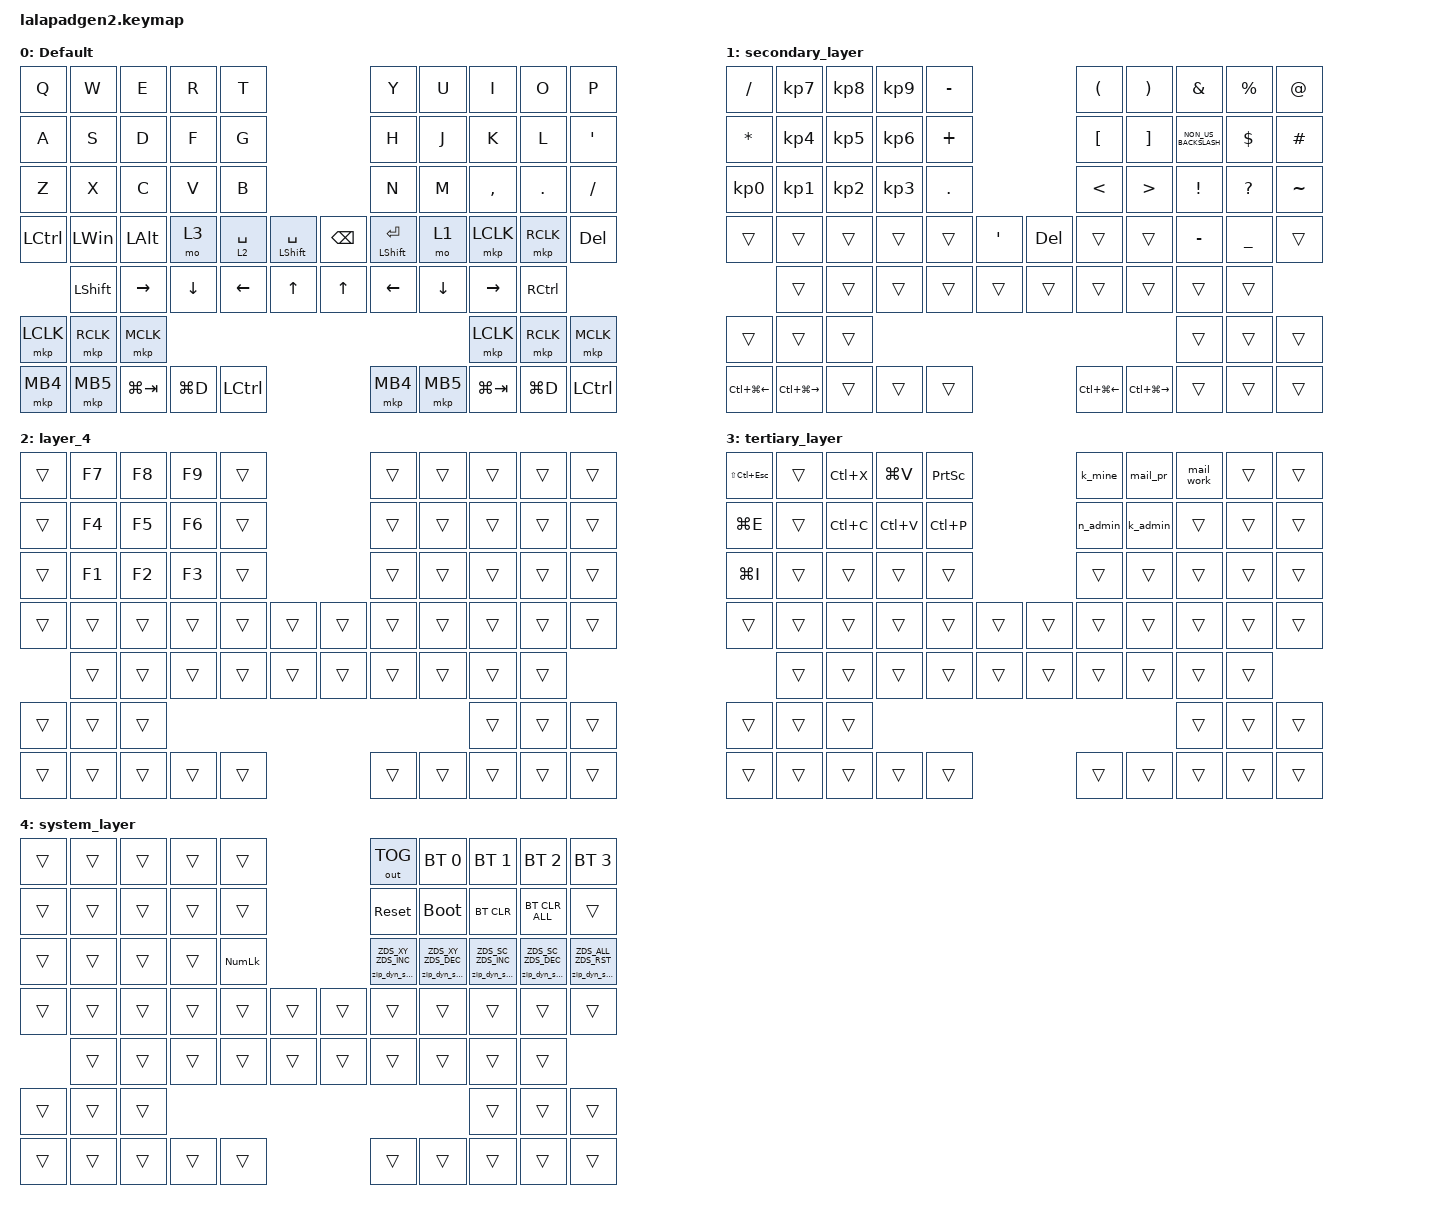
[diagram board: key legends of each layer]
#include <input/processors.dtsi>
#include <dt-bindings/zmk/zip_dynamic_scale.h>
#include <behaviors.dtsi>
#include <dt-bindings/zmk/bt.h>
#include <dt-bindings/zmk/keys.h>
#include <dt-bindings/zmk/outputs.h>
#include <dt-bindings/zmk/pointing.h>

#define DEFAULT_LAYER   0
#define SECONDARY_LAYER 1
#define TERTIARY_LAYER  2
#define SYSTEM_LAYER    3

&mt { quick-tap-ms = <200>; };

&lt { quick-tap-ms = <200>; };

/ {
    behaviors {
        zip_dyn_scale: zip_dyn_scale {
            compatible = "zmk,behavior-zip-dynamic-scale";
            #binding-cells = <2>;
        };

        zip_dyn_scale_set: zip_dyn_scale_set {
            compatible = "zmk,behavior-zip-dynamic-scale-set";
            #binding-cells = <2>;
        };

        mt2: mod_tap2 {
            compatible = "zmk,behavior-hold-tap";
            #binding-cells = <2>;
            flavor = "tap-preferred";
            tapping-term-ms = <200>;
            quick-tap-ms = <200>;
            require-prior-idle-ms = <125>;
            bindings = <&kp>, <&kp>;
        };

        tap_dance_layer_1and2: tap_dance_layer_1and2 {
            compatible = "zmk,behavior-tap-dance";
            label = "td_mo12";
            #binding-cells = <0>;
            bindings = <&mo 1>, <&mo 4>;
        };
    };

    combos {
        compatible = "zmk,combos";

        CONBO_ESC {
            bindings = <&kp ESCAPE>;
            key-positions = <0 10>;
        };

        COMBO_TAB {
            bindings = <&kp TAB>;
            key-positions = <0 1>;
        };

        ch-lang {
            bindings = <&kp LS(CAPSLOCK)>;
            key-positions = <35 36>;
        };

        mb3 {
            bindings = <&mkp MB3>;
            key-positions = <39 40>;
        };

        semiC {
            bindings = <&kp SEMICOLON>;
            key-positions = <5 15>;
        };

        eq {
            bindings = <&kp EQUAL>;
            key-positions = <8 9>;
        };

        lay4 {
            bindings = <&mo 4>;
            key-positions = <34 33>;
        };
    };

    macros {
        k_mine: k_mine {
            compatible = "zmk,behavior-macro";
            #binding-cells = <0>;
            bindings = <&kp LS(T) &kp N1 &kp N0 &kp H &kp N7 &kp I &kp N3 &kp N2>;
            label = "K_MINE";
        };

        mail_pr: mail_pr {
            compatible = "zmk,behavior-macro";
            #binding-cells = <0>;
            bindings = <&kp N &kp O &kp V &kp A &kp N8 &kp DOT &kp L &kp O &kp V &kp E &kp DOT &kp B &kp B &kp AT &kp G &kp M &kp A &kp I &kp L &kp DOT &kp C &kp O &kp M>;
            label = "MAIL_PR";
        };

        mail_work: mail_work {
            compatible = "zmk,behavior-macro";
            #binding-cells = <0>;
            bindings = <&kp N &kp O &kp B &kp A &kp T &kp A &kp MINUS &kp S &kp AT &kp A &kp Z &kp U &kp S &kp A &kp S &kp E &kp K &kp K &kp E &kp I &kp DOT &kp C &kp O &kp DOT &kp J &kp P>;
            label = "MAIL_WORK";
        };

        n_admin: n_admin {
            compatible = "zmk,behavior-macro";
            #binding-cells = <0>;
            bindings = <&kp DOT &kp BSLH &kp L &kp O &kp C &kp A &kp L &kp A &kp D &kp M &kp I &kp N>;
            label = "N_ADMIN";
        };

        k_admin: k_admin {
            compatible = "zmk,behavior-macro";
            #binding-cells = <0>;
            bindings = <&kp LS(N) &kp LS(G) &kp LS(J) &kp LS(T) &kp LS(Z) &kp LS(I) &kp LS(Z) &kp LS(Q)>;
            label = "K_ADMIN";
        };
    };

    keymap {
        compatible = "zmk,keymap";

        DEFAULT_LAYER {
            display-name = "Default";
            bindings = <
&kp Q      &kp W           &kp E         &kp R      &kp T                                             &kp Y                 &kp U     &kp I        &kp O       &kp P
&kp A      &kp S           &kp D         &kp F      &kp G                                             &kp H                 &kp J     &kp K        &kp L       &kp SQT
&kp Z      &kp X           &kp C         &kp V      &kp B                                             &kp N                 &kp M     &kp COMMA    &kp PERIOD  &kp SLASH
&kp LCTRL  &kp LWIN        &kp LEFT_ALT  &mo 3      &lt 2 SPACE  &mt LEFT_SHIFT SPACE  &kp BACKSPACE  &mt LEFT_SHIFT ENTER  &mo 1     &mkp LCLK    &mkp RCLK   &kp DELETE
           &kp LEFT_SHIFT  &kp RIGHT     &kp DOWN   &kp LEFT     &kp UP                &kp UP         &kp LEFT              &kp DOWN  &kp RIGHT    &kp RCTRL
&mkp LCLK  &mkp RCLK       &mkp MCLK                                                                                                  &mkp LCLK    &mkp RCLK   &mkp MCLK
&mkp MB4   &mkp MB5        &kp LG(TAB)   &kp LG(D)  &kp LCTRL                                         &mkp MB4              &mkp MB5  &kp LG(TAB)  &kp LG(D)   &kp LCTRL
            >;
        };

        SECONDARY_LAYER {
            display-name = "secondary_layer";
            bindings = <
&kp SLASH         &kp KP_NUMBER_7    &kp KP_NUMBER_8  &kp KP_NUMBER_9  &kp MINUS                     &kp LEFT_PARENTHESIS  &kp RIGHT_PARENTHESIS  &kp AMPERSAND         &kp PERCENT     &kp AT_SIGN
&kp ASTERISK      &kp KP_NUMBER_4    &kp KP_NUMBER_5  &kp KP_NUMBER_6  &kp PLUS                      &kp LEFT_BRACKET      &kp RIGHT_BRACKET      &kp NON_US_BACKSLASH  &kp DOLLAR      &kp HASH
&kp KP_NUMBER_0   &kp KP_NUMBER_1    &kp KP_NUMBER_2  &kp KP_NUMBER_3  &kp PERIOD                    &kp LESS_THAN         &kp GREATER_THAN       &kp EXCLAMATION       &kp QUESTION    &kp TILDE
&trans            &trans             &trans           &trans           &trans      &kp SQT  &kp DEL  &trans                &trans                 &kp MINUS             &kp UNDERSCORE  &trans
                  &trans             &trans           &trans           &trans      &trans   &trans   &trans                &trans                 &trans                &trans
&trans            &trans             &trans                                                                                                       &trans                &trans          &trans
&kp LC(LG(LEFT))  &kp LC(LG(RIGHT))  &trans           &trans           &trans                        &kp LC(LG(LEFT))      &kp LC(LG(RIGHT))      &trans                &trans          &trans
            >;
        };

        layer_4 {
            bindings = <
&trans  &kp F7  &kp F8  &kp F9  &trans                  &trans  &trans  &trans  &trans  &trans
&trans  &kp F4  &kp F5  &kp F6  &trans                  &trans  &trans  &trans  &trans  &trans
&trans  &kp F1  &kp F2  &kp F3  &trans                  &trans  &trans  &trans  &trans  &trans
&trans  &trans  &trans  &trans  &trans  &trans  &trans  &trans  &trans  &trans  &trans  &trans
        &trans  &trans  &trans  &trans  &trans  &trans  &trans  &trans  &trans  &trans
&trans  &trans  &trans                                                  &trans  &trans  &trans
&trans  &trans  &trans  &trans  &trans                  &trans  &trans  &trans  &trans  &trans
            >;
        };

        TERTIARY_LAYER {
            display-name = "tertiary_layer";
            bindings = <
&kp LS(LC(ESCAPE))  &trans  &kp LC(X)  &kp LG(V)  &kp PSCRN                  &k_mine   &mail_pr  &mail_work  &trans  &trans
&kp LG(E)           &trans  &kp LC(C)  &kp LC(V)  &kp LC(P)                  &n_admin  &k_admin  &trans      &trans  &trans
&kp LG(I)           &trans  &trans     &trans     &trans                     &trans    &trans    &trans      &trans  &trans
&trans              &trans  &trans     &trans     &trans     &trans  &trans  &trans    &trans    &trans      &trans  &trans
                    &trans  &trans     &trans     &trans     &trans  &trans  &trans    &trans    &trans      &trans
&trans              &trans  &trans                                                               &trans      &trans  &trans
&trans              &trans  &trans     &trans     &trans                     &trans    &trans    &trans      &trans  &trans
            >;
        };

        SYSTEM_LAYER {
            display-name = "system_layer";
            bindings = <
&trans  &trans  &trans  &trans  &trans                          &out OUT_TOG                   &bt BT_SEL 0                   &bt BT_SEL 1                   &bt BT_SEL 2                   &bt BT_SEL 3
&trans  &trans  &trans  &trans  &trans                          &sys_reset                     &bootloader                    &bt BT_CLR                     &bt BT_CLR_ALL                 &trans
&trans  &trans  &trans  &trans  &kp KP_NUMLOCK                  &zip_dyn_scale ZDS_XY ZDS_INC  &zip_dyn_scale ZDS_XY ZDS_DEC  &zip_dyn_scale ZDS_SC ZDS_INC  &zip_dyn_scale ZDS_SC ZDS_DEC  &zip_dyn_scale ZDS_ALL ZDS_RST
&trans  &trans  &trans  &trans  &trans          &trans  &trans  &trans                         &trans                         &trans                         &trans                         &trans
        &trans  &trans  &trans  &trans          &trans  &trans  &trans                         &trans                         &trans                         &trans
&trans  &trans  &trans                                                                                                        &trans                         &trans                         &trans
&trans  &trans  &trans  &trans  &trans                          &trans                         &trans                         &trans                         &trans                         &trans
            >;
        };
    };

    conditional_layers { compatible = "zmk,conditional-layers"; };
};
